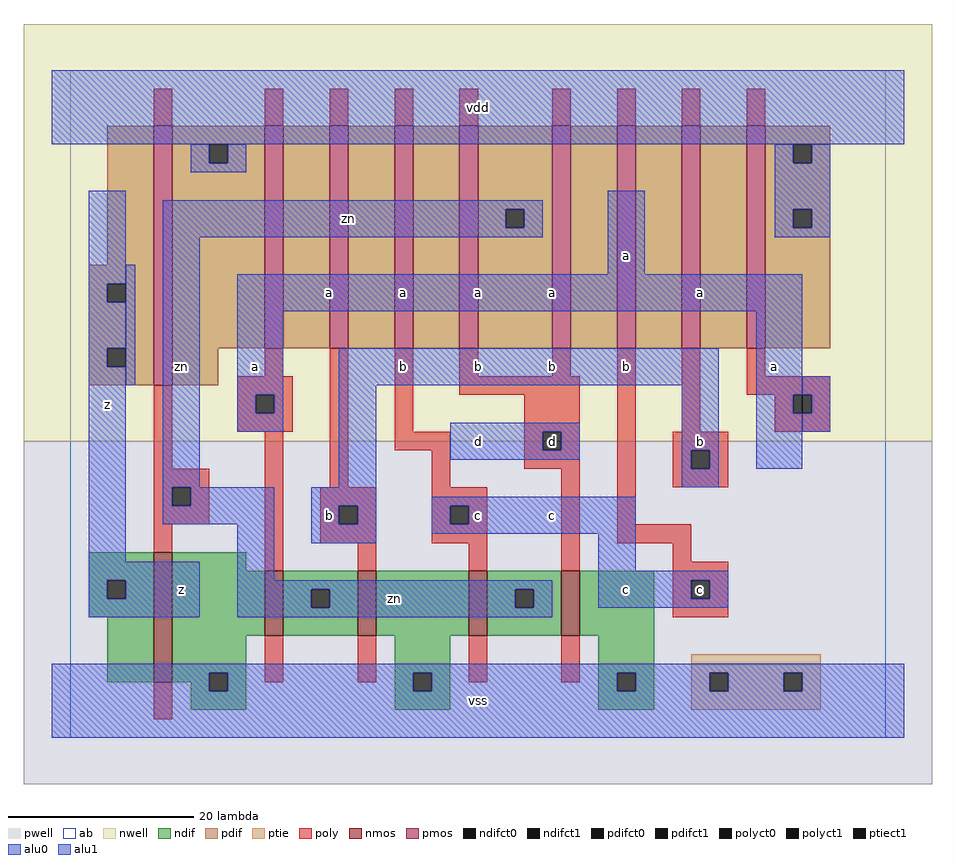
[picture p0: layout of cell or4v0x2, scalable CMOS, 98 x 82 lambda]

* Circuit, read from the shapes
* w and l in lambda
.subckt or4v0x2 a b c d vdd vss z zn
M1 vss zn z vss nfet w=14 l=2
M2 zn a vss vss nfet w=7 l=2
M3 vss b zn vss nfet w=7 l=2
M4 zn c vss vss nfet w=7 l=2
M5 vss d zn vss nfet w=7 l=2
M6 vdd zn z n1 pfet w=28 l=2
M7 n2 a vdd n1 pfet w=24 l=2
M8 n3 b n2 n1 pfet w=24 l=2
M9 n4 c n3 n1 pfet w=24 l=2
M10 zn d n4 n1 pfet w=24 l=2
M11 n5 d zn n1 pfet w=24 l=2
M12 n6 c n5 n1 pfet w=24 l=2
M13 n7 b n6 n1 pfet w=24 l=2
M14 vdd a n7 n1 pfet w=24 l=2
.ends

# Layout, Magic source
magic
tech scmos
<< ab >>
rect 0 0 88 72
<< nwell >>
rect -5 32 93 77
<< pwell >>
rect -5 -5 93 32
<< poly >>
rect 9 66 11 70
rect 21 66 23 70
rect 28 66 30 70
rect 35 66 37 70
rect 42 66 44 70
rect 52 66 54 70
rect 59 66 61 70
rect 66 66 68 70
rect 73 66 75 70
rect 21 39 23 42
rect 9 29 11 38
rect 18 37 24 39
rect 18 35 20 37
rect 22 35 24 37
rect 18 33 24 35
rect 9 27 15 29
rect 9 25 11 27
rect 13 25 15 27
rect 9 23 15 25
rect 9 20 11 23
rect 21 18 23 33
rect 28 27 30 42
rect 35 33 37 42
rect 42 39 44 42
rect 52 39 54 42
rect 42 37 55 39
rect 49 33 55 37
rect 35 31 41 33
rect 39 27 41 31
rect 49 31 51 33
rect 53 31 55 33
rect 49 29 55 31
rect 27 25 33 27
rect 27 23 29 25
rect 31 23 33 25
rect 27 21 33 23
rect 39 25 45 27
rect 39 23 41 25
rect 43 23 45 25
rect 39 21 45 23
rect 31 18 33 21
rect 43 18 45 21
rect 53 18 55 29
rect 59 23 61 42
rect 66 33 68 42
rect 73 39 75 42
rect 73 37 82 39
rect 76 35 78 37
rect 80 35 82 37
rect 76 33 82 35
rect 65 31 71 33
rect 65 29 67 31
rect 69 29 71 31
rect 65 27 71 29
rect 59 21 67 23
rect 65 19 67 21
rect 65 17 71 19
rect 65 15 67 17
rect 69 15 71 17
rect 65 13 71 15
rect 9 2 11 6
rect 21 6 23 11
rect 31 6 33 11
rect 43 6 45 11
rect 53 6 55 11
<< ndif >>
rect 2 17 9 20
rect 2 15 4 17
rect 6 15 9 17
rect 2 13 9 15
rect 4 6 9 13
rect 11 18 19 20
rect 11 11 21 18
rect 23 16 31 18
rect 23 14 26 16
rect 28 14 31 16
rect 23 11 31 14
rect 33 11 43 18
rect 45 16 53 18
rect 45 14 48 16
rect 50 14 53 16
rect 45 11 53 14
rect 55 11 63 18
rect 11 7 19 11
rect 11 6 15 7
rect 13 5 15 6
rect 17 5 19 7
rect 35 7 41 11
rect 13 3 19 5
rect 35 5 37 7
rect 39 5 41 7
rect 57 7 63 11
rect 35 3 41 5
rect 57 5 59 7
rect 61 5 63 7
rect 57 3 63 5
<< pdif >>
rect 4 51 9 66
rect 2 49 9 51
rect 2 47 4 49
rect 6 47 9 49
rect 2 42 9 47
rect 2 40 4 42
rect 6 40 9 42
rect 2 38 9 40
rect 11 64 21 66
rect 11 62 15 64
rect 17 62 21 64
rect 11 42 21 62
rect 23 42 28 66
rect 30 42 35 66
rect 37 42 42 66
rect 44 57 52 66
rect 44 55 47 57
rect 49 55 52 57
rect 44 42 52 55
rect 54 42 59 66
rect 61 42 66 66
rect 68 42 73 66
rect 75 64 82 66
rect 75 62 78 64
rect 80 62 82 64
rect 75 57 82 62
rect 75 55 78 57
rect 80 55 82 57
rect 75 42 82 55
rect 11 38 16 42
<< alu1 >>
rect -2 64 90 72
rect 2 49 6 59
rect 2 47 4 49
rect 2 42 6 47
rect 2 40 4 42
rect 2 19 6 40
rect 58 50 62 59
rect 18 46 79 50
rect 18 37 23 46
rect 18 35 20 37
rect 22 35 23 37
rect 18 33 23 35
rect 29 38 70 42
rect 29 27 33 38
rect 41 33 55 34
rect 41 31 51 33
rect 53 31 55 33
rect 41 30 55 31
rect 66 31 70 38
rect 66 29 67 31
rect 69 29 70 31
rect 74 37 79 46
rect 74 35 78 37
rect 74 29 79 35
rect 66 27 70 29
rect 2 17 14 19
rect 2 15 4 17
rect 6 15 14 17
rect 2 13 14 15
rect 26 25 33 27
rect 26 23 29 25
rect 31 23 33 25
rect 26 21 33 23
rect 39 25 61 26
rect 39 23 41 25
rect 43 23 61 25
rect 39 22 61 23
rect 57 18 61 22
rect 57 17 71 18
rect 57 15 67 17
rect 69 15 71 17
rect 57 14 71 15
rect -2 7 90 8
rect -2 5 15 7
rect 17 5 37 7
rect 39 5 59 7
rect 61 5 69 7
rect 71 5 77 7
rect 79 5 90 7
rect -2 0 90 5
<< ptie >>
rect 67 7 81 9
rect 67 5 69 7
rect 71 5 77 7
rect 79 5 81 7
rect 67 3 81 5
<< nmos >>
rect 9 6 11 20
rect 21 11 23 18
rect 31 11 33 18
rect 43 11 45 18
rect 53 11 55 18
<< pmos >>
rect 9 38 11 66
rect 21 42 23 66
rect 28 42 30 66
rect 35 42 37 66
rect 42 42 44 66
rect 52 42 54 66
rect 59 42 61 66
rect 66 42 68 66
rect 73 42 75 66
<< polyct0 >>
rect 11 25 13 27
rect 79 35 80 37
<< polyct1 >>
rect 20 35 22 37
rect 51 31 53 33
rect 29 23 31 25
rect 41 23 43 25
rect 78 35 79 37
rect 67 29 69 31
rect 67 15 69 17
<< ndifct0 >>
rect 26 14 28 16
rect 48 14 50 16
<< ndifct1 >>
rect 4 15 6 17
rect 15 5 17 7
rect 37 5 39 7
rect 59 5 61 7
<< ptiect1 >>
rect 69 5 71 7
rect 77 5 79 7
<< pdifct0 >>
rect 15 62 17 64
rect 47 55 49 57
rect 78 62 80 64
rect 78 55 80 57
<< pdifct1 >>
rect 4 47 6 49
rect 4 40 6 42
<< alu0 >>
rect 13 62 15 64
rect 17 62 19 64
rect 13 61 19 62
rect 76 62 78 64
rect 80 62 82 64
rect 10 57 51 58
rect 10 55 47 57
rect 49 55 51 57
rect 10 54 51 55
rect 6 38 7 51
rect 10 27 14 54
rect 76 57 82 62
rect 76 55 78 57
rect 80 55 82 57
rect 76 54 82 55
rect 79 37 82 39
rect 80 35 82 37
rect 79 33 82 35
rect 10 25 11 27
rect 13 25 22 27
rect 10 23 22 25
rect 18 17 22 23
rect 18 16 52 17
rect 18 14 26 16
rect 28 14 48 16
rect 50 14 52 16
rect 18 13 52 14
<< labels >>
rlabel alu0 12 40 12 40 6 zn
rlabel alu0 35 15 35 15 6 zn
rlabel alu0 30 56 30 56 6 zn
rlabel alu1 12 16 12 16 6 z
rlabel alu1 4 36 4 36 6 z
rlabel alu1 28 24 28 24 6 b
rlabel alu1 20 40 20 40 6 a
rlabel alu1 28 48 28 48 6 a
rlabel alu1 44 4 44 4 6 vss
rlabel alu1 44 24 44 24 6 c
rlabel alu1 44 32 44 32 6 d
rlabel alu1 36 40 36 40 6 b
rlabel alu1 44 40 44 40 6 b
rlabel alu1 36 48 36 48 6 a
rlabel alu1 44 48 44 48 6 a
rlabel alu1 44 68 44 68 6 vdd
rlabel alu1 60 16 60 16 6 c
rlabel polyct1 68 16 68 16 6 c
rlabel alu1 52 24 52 24 6 c
rlabel alu1 68 32 68 32 6 b
rlabel polyct1 52 32 52 32 6 d
rlabel alu1 52 40 52 40 6 b
rlabel alu1 60 40 60 40 6 b
rlabel alu1 52 48 52 48 6 a
rlabel alu1 60 52 60 52 6 a
rlabel alu1 68 48 68 48 6 a
rlabel alu1 76 40 76 40 6 a
<< end >>
